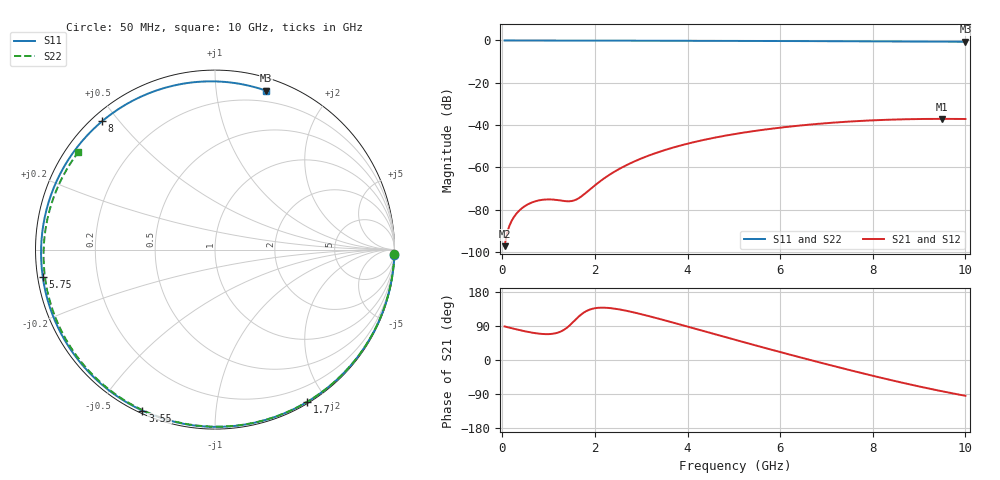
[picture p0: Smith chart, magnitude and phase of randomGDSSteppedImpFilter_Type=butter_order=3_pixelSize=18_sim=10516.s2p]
! freq	dB(S11)	phase(S11)	dB(S12)	phase(S12)
!  dB(S21)	phase(S21)	dB(S22)	phase(S22)
!S-par simulation data
#  GHz  S  DB  R 50
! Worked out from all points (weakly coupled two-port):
!   200 points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, 50 MHz to 10 GHz, reference 50 ohm
!   highest |S21| = -37.08 dB at 9.5 GHz (marker M1); lowest = -97.3 dB at 50 MHz (marker M2)
!   lowest |S11| = -0.6 dB at 10 GHz (marker M3), VSWR 27.59, Z = 5.19 + j68.1 ohm
!   |S11| at or under -10 dB: nowhere
!   |S22| runs from -0.6 to 0.0 dB; largest |S21 - S12| = 0
!   S11 on the Smith chart (normalised r, x): 50 MHz: 0, -63; 1.7 GHz: 0.02, -1.77; 3.55 GHz: 0.01, -0.65; 5.75 GHz: 0.01, -0.08; 8 GHz: 0.03, +0.45; 10 GHz: 0.10, +1.36
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0.05  -0.00 -1.8  -97.28 88.5  -97.28 88.5  -0.00 -1.3
0.4  -0.02 -14.3  -79.77 78.2  -79.77 78.2  -0.01 -10.6
0.6  -0.03 -21.4  -76.99 73.1  -76.99 73.1  -0.02 -15.8
0.8  -0.04 -28.4  -75.59 69.4  -75.59 69.4  -0.03 -21.1
1.05  -0.05 -37.1  -75.19 68.7  -75.19 68.7  -0.04 -27.6
1.45  -0.06 -50.6  -76.06 90.8  -76.06 90.8  -0.05 -37.8
1.7  -0.07 -58.9  -73.87 119.8  -73.87 119.8  -0.06 -44.1
1.75  -0.07 -60.5  -73.04 124.3  -73.04 124.3  -0.06 -45.3
2.15  -0.09 -73.3  -65.99 138.1  -65.99 138.1  -0.07 -55.2
2.5  -0.10 -84.1  -61.08 134.0  -61.08 134.0  -0.08 -63.6
3.4  -0.13 -110.2  -52.60 108.3  -52.60 108.3  -0.11 -84.3
3.55  -0.14 -114.3  -51.55 103.3  -51.55 103.3  -0.11 -87.7
4.3  -0.17 -134.3  -47.27 77.9  -47.27 77.9  -0.14 -103.8
5.05  -0.21 -153.4  -44.14 52.5  -44.14 52.5  -0.18 -119.1
5.75  -0.25 -170.9  -41.91 29.2  -41.91 29.2  -0.21 -132.9
6.7  -0.32 165.3  -39.67 -1.6  -39.67 -1.6  -0.28 -151.1
7.35  -0.37 148.7  -38.56 -22.0  -38.56 -22.0  -0.33 -163.4
8  -0.42 131.3  -37.77 -41.6  -37.77 -41.6  -0.38 -175.7
8.35  -0.46 121.6  -37.48 -51.8  -37.48 -51.8  -0.41 177.6
8.95  -0.51 104.4  -37.17 -68.5  -37.17 -68.5  -0.47 165.9
9.5  -0.57 87.9  -37.08 -82.6  -37.08 -82.6  -0.53 154.9
10  -0.63 72.3  -37.14 -94.5  -37.14 -94.5  -0.58 144.6
